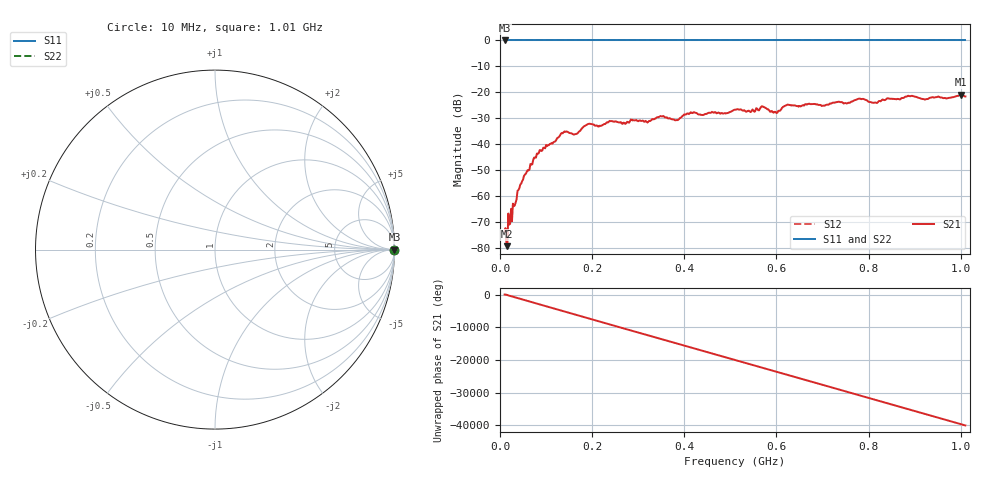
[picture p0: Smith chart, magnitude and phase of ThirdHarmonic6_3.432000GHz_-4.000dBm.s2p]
! 8/17/2025 11:02:21 AM
! C:\ANRITSUVNA\TEMP\TEMP.S2P
! CHANNEL.1
! TR.MEASUREMENT
! RAW.DATA
! RF.CORRECTION.OFF
! AVERAGING.OFF
! IF.BANDWIDTH: 5KHZ
! SWEEPTYPE:  FREQ.SWEEP(Linear)
! Reference Plane Port Info
! PORT:  PORT1  PORT2
! DISTANCE:  0  m  0  m
! TIME:  0  s  0  s
! PHASE.OFFSET:  0  deg.  0  deg.
! LOSS:  0  dB  0  dB
! REF.LOSS:  0  dB  0  dB
! REF.FREQ:  0  Hz  0  Hz
! Power Info
! POWER:  -20  dBm  -20  dBm
! EFF.POWER:  -20  dBm  -20  dBm
! SOURCE.ATTEN:  0  dB  0  dB
! TEST.ATTEN:  0  dB  0  dB
# GHZ S RI R 50.0
! FREQ.GHZ  S11RE  S11IM  S21RE  S21IM  S12RE  S12IM  S22RE  S22IM
!; PortSelection: Port_12
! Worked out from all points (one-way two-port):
!   501 points, 10 MHz to 1.01 GHz, reference 50 ohm
!   highest |S21| = -20.89 dB at 1 GHz (marker M1); lowest = -79.3 dB at 16 MHz (marker M2)
!   lowest |S11| = 0.0 dB at 10 MHz (marker M3)
!   |S11| at or under -10 dB: nowhere
!   |S22| runs from 0.0 to 0.0 dB; largest |S21 - S12| = 1.1
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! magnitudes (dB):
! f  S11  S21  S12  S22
! 10 MHz  0.0  -73.8  0.0  0.0
! 12 MHz  0.0  -72.3  0.0  0.0
! 16 MHz  0.0  -79.3  0.0  0.0
! 42 MHz  0.0  -57.0  0.0  0.0
! 84 MHz  0.0  -43.5  0.0  0.0
! 136 MHz  0.0  -35.8  0.0  0.0
! 164 MHz  0.0  -36.1  0.0  0.0
! 178 MHz  0.0  -33.8  0.0  0.0
! 194 MHz  0.0  -32.1  0.0  0.0
! 322 MHz  0.0  -31.3  0.0  0.0
! 344 MHz  0.0  -29.6  0.0  0.0
! 384 MHz  0.0  -30.7  0.0  0.0
! 418 MHz  0.0  -28.0  0.0  0.0
! 510 MHz  0.0  -26.7  0.0  0.0
! 570 MHz  0.0  -25.4  0.0  0.0
! 598 MHz  0.0  -27.5  0.0  0.0
! 622 MHz  0.0  -24.9  0.0  0.0
! 678 MHz  0.0  -24.5  0.0  0.0
! 814 MHz  0.0  -23.9  0.0  0.0
! 844 MHz  0.0  -22.4  0.0  0.0
! 1 GHz  0.0  -20.9  0.0  0.0
! 1.01 GHz  0.0  -21.6  0.0  0.0
